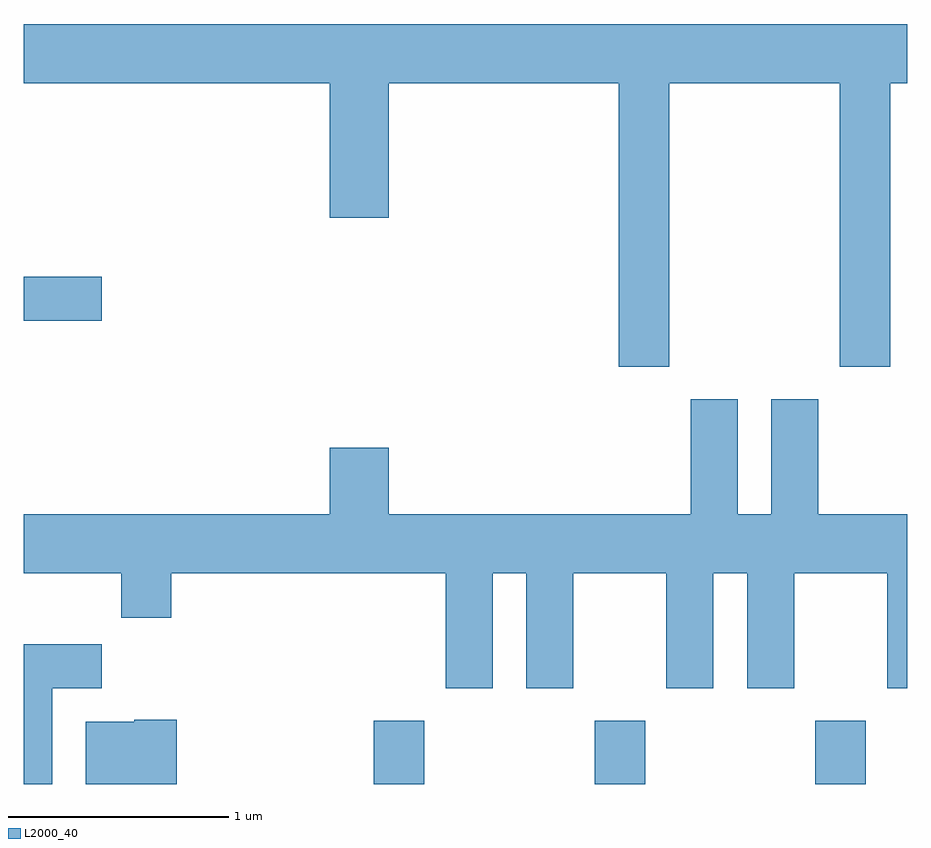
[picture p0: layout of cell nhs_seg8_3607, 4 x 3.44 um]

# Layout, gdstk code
import gdstk
lib = gdstk.Library(unit=1e-6, precision=1e-09)
def R(c, l, rs):  # rectangles x0, y0, x1, y1
    for r in rs: c.add(gdstk.rectangle(r[:2], r[2:], *l))
def A(c, l, x, y, w, h, nx, ny, dx, dy):  # array of equal rectangles
    R(c, l, [(x+i*dx, y+j*dy, x+i*dx+w, y+j*dy+h) for i in range(nx) for j in range(ny)])
def P(c, l, *ps):  # polygons
    for p in ps: c.add(gdstk.Polygon(p, *l))
L2000_40 = (2000, 40)

nhs_seg8_3607 = lib.new_cell('nhs_seg8_3607')
A(nhs_seg8_3607, L2000_40, 295.196, 1844.342, 0.228, 0.287, 3, 1, 1, 0)
R(nhs_seg8_3607, L2000_40, [(293.611,1846.441,293.964,1846.639)])
P(nhs_seg8_3607, L2000_40, [(296.534,1847.516),(297.306,1847.516),(297.306,1846.231),(297.534,1846.231),(297.534,1847.516),(297.611,1847.516),(297.611,1847.784),(293.611,1847.784),(293.611,1847.516),(294.996,1847.516),(294.996,1846.906),(295.264,1846.906),(295.264,1847.516),(296.306,1847.516),(296.306,1846.231),(296.534,1846.231)],
  [(295.734,1845.296),(295.886,1845.296),(295.886,1844.776),(296.099,1844.776),(296.099,1845.296),(296.521,1845.296),(296.521,1844.776),(296.734,1844.776),(296.734,1845.296),(296.886,1845.296),(296.886,1844.776),(297.099,1844.776),(297.099,1845.296),(297.521,1845.296),(297.521,1844.776),(297.611,1844.776),(297.611,1845.564),(297.209,1845.564),(297.209,1846.084),(296.996,1846.084),(296.996,1845.564),(296.844,1845.564),(296.844,1846.084),(296.631,1846.084),(296.631,1845.564),(295.264,1845.564),(295.264,1845.864),(294.996,1845.864),(294.996,1845.564),(293.611,1845.564),(293.611,1845.296),(294.051,1845.296),(294.051,1845.096),(294.279,1845.096),(294.279,1845.296),(295.521,1845.296),(295.521,1844.776),(295.734,1844.776)],
  [(293.739,1844.776),(293.964,1844.776),(293.964,1844.974),(293.611,1844.974),(293.611,1844.342),(293.739,1844.342)],
  [(294.304,1844.634),(294.11,1844.634),(294.11,1844.624),(293.891,1844.624),(293.891,1844.342),(294.304,1844.342)])

lib.write_gds('nhs_seg8_3607.gds')
